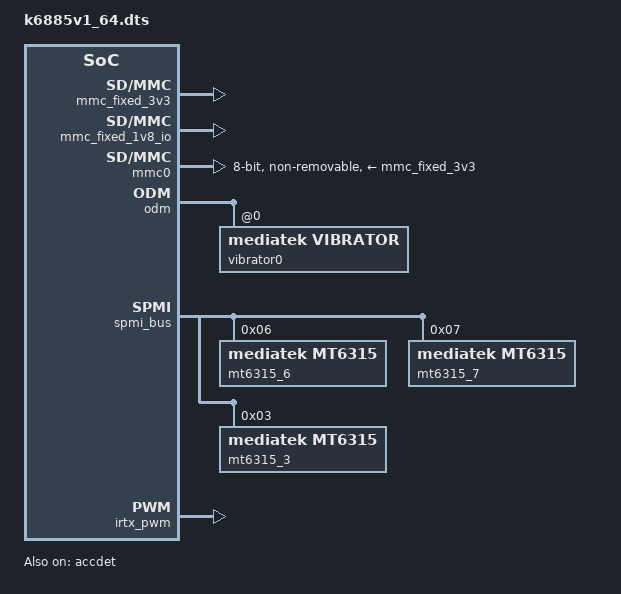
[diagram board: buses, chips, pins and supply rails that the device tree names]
/*
 * Mediatek's mt6885 SoC device tree source
 *
 * Copyright (C) 2016 MediaTek Inc.
 *
 * This program is free software; you can redistribute it and/or modify
 * it under the terms of the GNU General Public License version 2 as
 * published by the Free Software Foundation.
 *
 * This program is distributed in the hope that it will be useful,
 * but WITHOUT ANY WARRANTY; without even the implied warranty of
 * MERCHANTABILITY or FITNESS FOR A PARTICULAR PURPOSE.
 * See http://www.gnu.org/licenses/gpl-2.0.html for more details.
 */
/dts-v1/;
/plugin/;
#include <dt-bindings/interrupt-controller/irq.h>
#include <dt-bindings/interrupt-controller/arm-gic.h>
#include <dt-bindings/spmi/spmi.h>
#include <dt-bindings/pinctrl/mt6885-pinfunc.h>

&mmc_fixed_3v3 {
	status = "okay";
	regulator-name = "mmc_power";
	regulator-min-microvolt = <3300000>;
	regulator-max-microvolt = <3300000>;
	enable-active-high;
	regulator-always-on;
};

&mmc_fixed_1v8_io {
	status = "okay";
	regulator-name = "mmc_io";
	regulator-min-microvolt = <1800000>;
	regulator-max-microvolt = <1800000>;
	enable-active-high;
	regulator-always-on;
};

&reserved_memory {
};

/* chosen */
&chosen {

	atag,videolfb-fb_base_l = <0x7e020000>;
	atag,videolfb-fb_base_h = <0x0>;
	atag,videolfb-islcmfound = <1>;
	atag,videolfb-islcm_inited = <0>;
	atag,videolfb-fps= <6000>;
	atag,videolfb-vramSize= <0x1be0000>;
	atag,videolfb-lcmname=
		"nt35595_fhd_dsi_cmd_truly_nt50358_drv";
};

&mmc0 {
	status = "okay";
	/* pinctrl-names = "default", "state_uhs"; */
	/* pinctrl-0 = <&mmc0_pins_default>; */
	/* pinctrl-1 = <&mmc0_pins_uhs>; */
	bus-width = <8>;
	max-frequency = <5000000>;
	cap-mmc-highspeed;
	no-sdio;
	no-sd;
	vmmc-supply = <&mmc_fixed_3v3>;
	vqmmc-supply = <&mmc_fixed_1v8_io>;
	non-removable;
};

&timer {
	clock-frequency = <150000000>;
};

&odm {
	vibrator0:vibrator@0 {
		compatible = "mediatek,vibrator";
		vib_timer = <25>;
		vib_limit = <9>;
		vib_vol= <9>;
	};
};

/* accdet start */
&accdet {
	/* accdet micbias voltage: 0x09:2.85v 0x08:2.8v 0x07,
	 * 2.7v;0x05,2.5v;0x02,1.9v
	 */
	accdet-mic-vol = <8>;
	/* accdet pwm_width, pwm_thresh, fall_delay, rise_delay
	 * debounce0, debounce1, debounce3, debounce4
	 * eint pwm_width, eint pwm_thresh
	 * eint deb(debounce0, debounce1, debounce2, debounce3), inv_debounce
	 */
	headset-mode-setting = <0x500 0x500 1 0x1f0
				0x800 0x800 0x20 0x44
				0x4 0x1
				0x5 0x3 0x3 0x5 0xe>;
	accdet-plugout-debounce = <1>;
	/*1:ACC mode, 2:low cost without in bias, 6:low cost with in bias*/
	accdet-mic-mode = <2>;
	/*0--MD_MAX--UP_MAX--DW_MAX*/
	headset-three-key-threshold = <0 80 220 400>;
	headset-three-key-threshold-CDD = <0 121 192 600>;
	/*0--MD_MAX--VOICE_MAX--UP_MAX--DW_MAX*/
	headset-four-key-threshold = <0 58 121 192 400>;

	/* select VTH to 2v and 500k, use internal resitance */
	eint_use_ext_res = <0>;
	status = "okay";
};
/* accdet end */

&spmi_bus {
	grpid = <11>;
	mt6315_6: mt6315@6 {
		compatible = "mediatek,mt6315", "mtk,spmi-pmic";
		reg = <0x6 SPMI_USID
			   0xb SPMI_GSID>;
		#address-cells = <1>;
		#size-cells = <0>;

	};
	mt6315_7: mt6315@7 {
		compatible = "mediatek,mt6315", "mtk,spmi-pmic";
		reg = <0x7 SPMI_USID
			   0xb SPMI_GSID>;
		#address-cells = <1>;
		#size-cells = <0>;

	};
	mt6315_3: mt6315@3 {
		compatible = "mediatek,mt6315", "mtk,spmi-pmic";
		reg = <0x3 SPMI_USID
			   0xb SPMI_GSID>;
		#address-cells = <1>;
		#size-cells = <0>;

	};
};

/* IRTX GPIO Start */
&irtx_pwm {
	pinctrl-names = "irtx_gpio_led_default", "irtx_gpio_led_set";
	pinctrl-0 = <&irtx_gpio_led_default>;
	pinctrl-1 = <&irtx_gpio_led_set>;
	status = "okay";
};
&pio {
	/* IRTX GPIO Settings -Start */
	/* default: GPIO0, output, high */
	irtx_gpio_led_default:irtx_gpio_led_def@gpio127 {
		pins_cmd_dat {
			pinmux = <PINMUX_GPIO127__FUNC_GPIO127>;
			slew-rate = <1>;
			bias-disable;
			output-low;
			input-schmitt-enable = <0>;
		};
	};

	irtx_gpio_led_set:irtx_gpio_led_set@gpio127 {
		pins_cmd_dat {
			pinmux = <PINMUX_GPIO127__FUNC_PWM_3>;
			slew-rate = <1>;
			output-high;
		};
	};
}; /* IRTX GPIO Settings -End */

&mt6360_pmu {
	mt6360,intr_gpio_num = <24>; /* direct defined GPIO num */
	mt6360,intr_gpio = <&pio 24 0x0>;
};

#include <k6885v1_64/cust.dtsi>
/*End of this file, DO NOT ADD ANYTHING HERE*/
